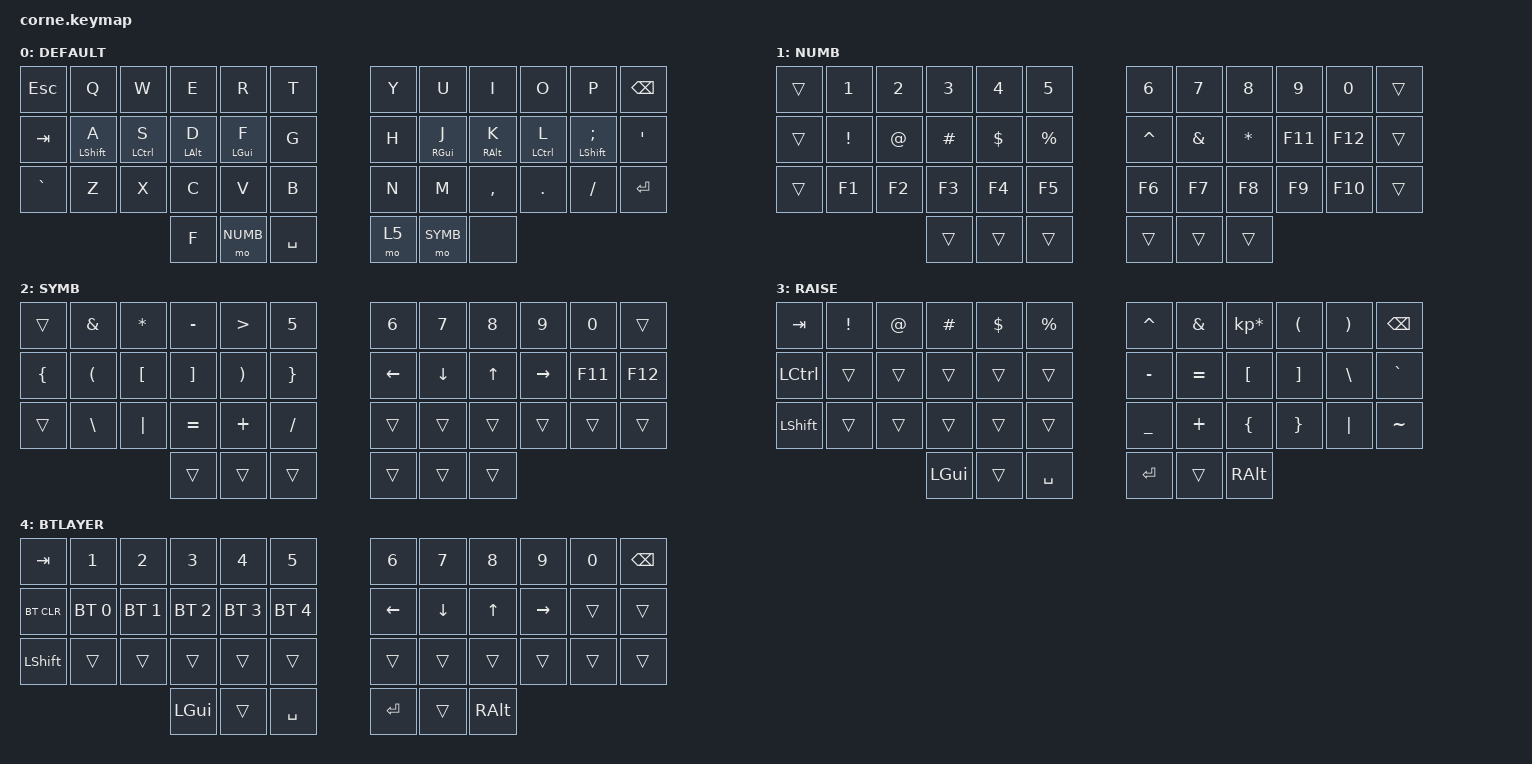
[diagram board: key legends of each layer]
/*
 * Copyright (c) 2020 The ZMK Contributors
 *
 * SPDX-License-Identifier: MIT
 */

#include <behaviors.dtsi>
#include <dt-bindings/zmk/keys.h>
#include <dt-bindings/zmk/bt.h>

#define DEFAULT 0
#define NUMB    1
#define SYMB    2
#define RAISE   4
#define BTLAYER 5


/ {
        keymap {
                compatible = "zmk,keymap";

                DEFAULT {
// ---------------------------------------------------------------------------------
// |  TAB |  Q  |  W  |  E  |  R  |  T  |    |  Y  |  U   |  I  |  O  |  P  | BKSP |
// | CTRL |  A  |  S  |  D  |  F  |  G  |    |  H  |  J   |  K  |  L  |  ;  |  '   |
// | SHFT |  Z  |  X  |  C  |  V  |  B  |    |  N  |  M   |  ,  |  .  |  /  | ESC  |
//                    | BT  | num | SPC |    |     | symb |     |
 
   bindings = <
   &kp ESC    &kp Q        &kp W        &kp E        &kp R       &kp T      /**/   &kp Y    &kp U       &kp I        &kp O         &kp P           &kp BSPC
   &kp TAB    &mt LSHFT A  &mt LCTRL S  &mt LALT D   &mt LGUI F  &kp G      /**/   &kp H    &mt RGUI J  &mt RALT K   &mt LCTRL L   &mt LSHFT SEMI  &kp SQT
   &kp GRAVE  &kp Z        &kp X        &kp C        &kp V       &kp B      /**/   &kp N    &kp M       &kp COMMA    &kp DOT       &kp FSLH        &kp RET
                                        &kp F  &mo NUMB    &kp SPACE  /**/   &mo 5    &mo SYMB    &none  
    >;
};
                
                 
                  NUMB {
// -----------------------------------------------------------------------------------------
// |  TAB |  1  |  2  |  3  |  4  |  5  |   |  6  | 7  |  8  |  9   |  0   | __ |
// | BTCLR|  !  |  @  |  #  |  $  |  %  |   |  ^  | &  |  *  |  F11 |  F12 | __ |
// | SHFT |  F1 |  F2 | F3  |  F4 |  F5 |   |  F6 | F7 |  F8 |  F9  | F10  | __ |
//                    | __  |  __ |  __ |   | __  | __ | __  |  
                       
                        bindings = <
   &trans    &kp N1    &kp N2       &kp N3       &kp N4       &kp N5       /**/  &kp  N6    &kp N7   &kp N8     &kp N9    &kp N0   &trans
   &trans    &kp EXCL  &kp AT       &kp HASH     &kp DLLR     &kp PRCNT    /**/  &kp CARET  &kp AMPS &kp STAR   &kp F11   &kp F12  &trans
   &trans    &kp F1    &kp F2       &kp F3       &kp F4       &kp F5       /**/  &kp F6     &kp F7   &kp F8     &kp F9    &kp F10  &trans
                                    &trans       &trans       &trans       /**/  &trans     &trans   &trans
                        >;
                };
       
       
                SYMB {
// -----------------------------------------------------------------------------------------
// |  __     |     &  |  *        |  -         |  >         |  __       |      |  __      | __      |  __     |  __      |   __   | __ |
// |  {      |    (   |  [        |  ]         |  )         |  }        |      | left     | down    |  up     | right    |   __   | __ | 
// |  __     |    \   |  |        |  =         |  +         |  /        |      |  __      |  __     |  __     |   __     |   __   | __ |
//                    | __        |  __        |  __        |           |      |  __      |  __     |  __     |
    bindings = <
   &trans    &kp AMPS  &kp STAR     &kp MINUS    &kp GT       &kp N5      /**/  &kp  N6    &kp N7    &kp N8    &kp N9     &kp N0   &trans
   &kp LBRC  &kp LPAR  &kp LBKT     &kp RBKT     &kp RPAR     &kp RBRC    /**/  &kp LEFT   &kp DOWN  &kp UP    &kp RIGHT  &kp F11  &kp F12
   &trans    &kp BSLH  &kp PIPE     &kp EQUAL    &kp PLUS     &kp FSLH    /**/  &trans     &trans    &trans    &trans     &trans   &trans
                                    &trans       &trans       &trans      /**/  &trans     &trans    &trans
                        >;
                };       
                 
  

                RAISE {
// -----------------------------------------------------------------------------------------
// |  TAB |  !  |  @  |  #  |  $  |  %  |   |  ^  |  &  |  *  |  (  |  )  | BKSP |
// | CTRL |     |     |     |     |     |   |  -  |  =  |  [  |  ]  |  \  |  `   |
// | SHFT |     |     |     |     |     |   |  _  |  +  |  {  |  }  | "|" |  ~   |
//                    | GUI |     | SPC |   | ENT |     | ALT |
                        bindings = <
   &kp  TAB  &kp EXCL &kp AT &kp HASH &kp DLLR &kp PRCNT   &kp CARET &kp AMPS  &kp KP_MULTIPLY &kp LPAR &kp RPAR &kp BSPC
   &kp LCTRL &trans   &trans &trans   &trans   &trans      &kp MINUS &kp EQUAL &kp LBKT        &kp RBKT &kp BSLH &kp GRAVE
   &kp LSHFT &trans   &trans &trans   &trans   &trans      &kp UNDER &kp PLUS  &kp LBRC        &kp RBRC &kp PIPE &kp TILDE
                             &kp LGUI &trans   &kp SPACE   &kp RET   &trans    &kp RALT
                        >;
                };
                
                              
                BTLAYER {
// -----------------------------------------------------------------------------------------
// |  TAB     |  1  |  2  |  3  |  4  |  5  |   |  6  |  7  |  8  |  9  |  0  | BKSP |
// | BTCLR    | BT1 | BT2 | BT3 | BT4 | BT5 |   | LFT | DWN |  UP | RGT |     |      |
// | SHFT     |     |     |     |     |     |   |     |     |     |     |     |      |
//                  |     |     |     |     |   |     |     |
                        bindings = <
   &kp TAB     &kp N1       &kp N2       &kp N3       &kp N4       &kp N5         &kp N6   &kp N7   &kp N8 &kp N9    &kp N0 &kp BSPC
   &bt BT_CLR  &bt BT_SEL 0 &bt BT_SEL 1 &bt BT_SEL 2 &bt BT_SEL 3 &bt BT_SEL 4   &kp LEFT &kp DOWN &kp UP &kp RIGHT &trans &trans
   &kp LSHFT   &trans       &trans       &trans       &trans       &trans         &trans   &trans   &trans &trans    &trans &trans
                                    &kp LGUI     &trans       &kp SPACE      &kp RET  &trans   &kp RALT
                        >;
                };
                
                
        };
};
